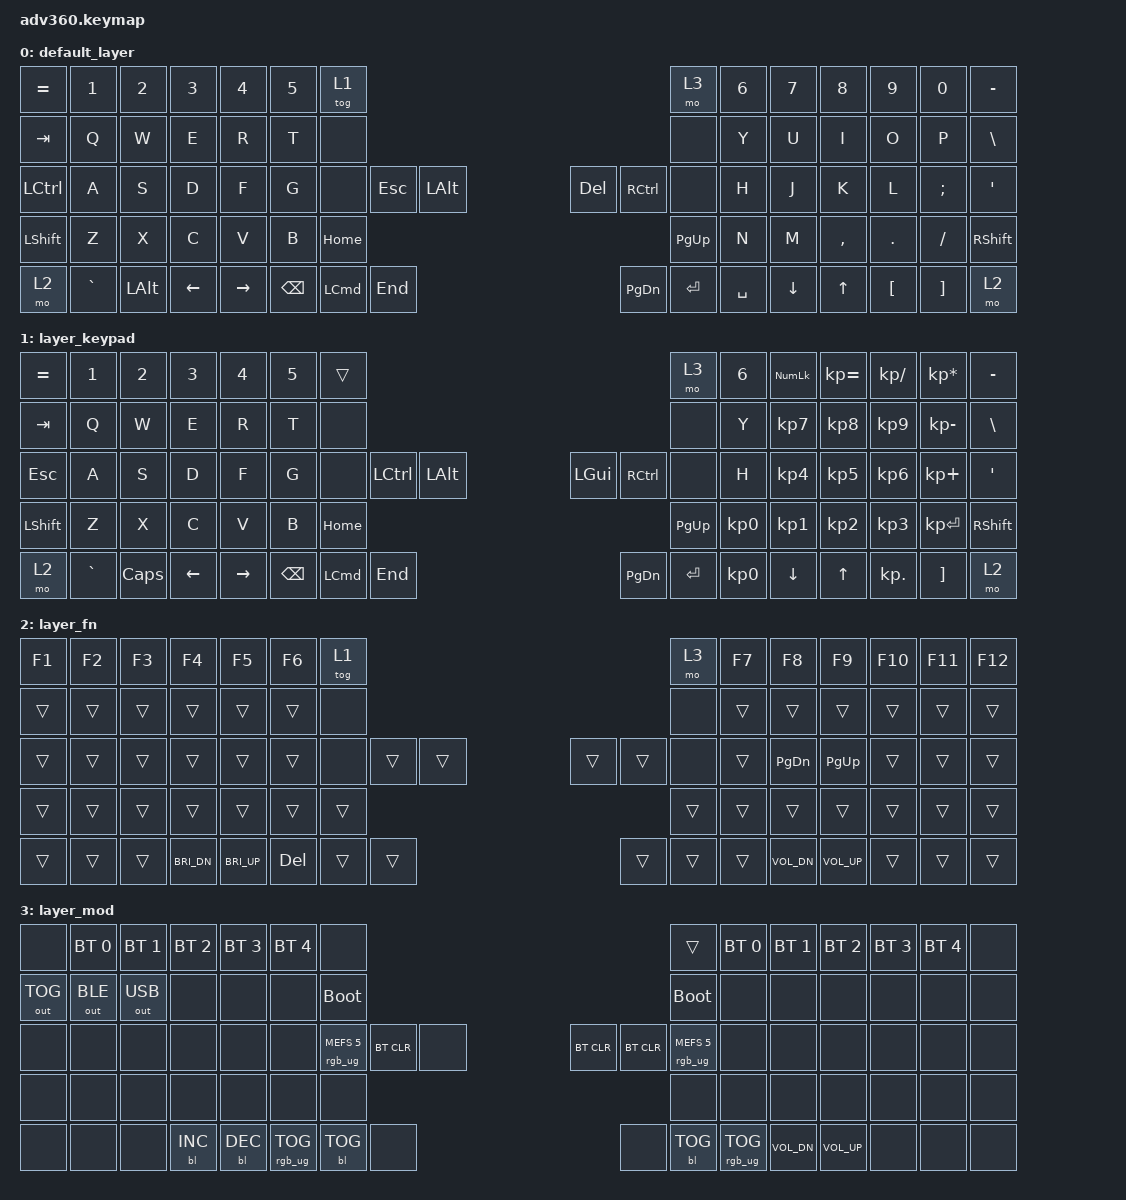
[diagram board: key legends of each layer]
#include <behaviors.dtsi>
#include <dt-bindings/zmk/keys.h>
#include <dt-bindings/zmk/bt.h>
#include <dt-bindings/zmk/outputs.h>
#include <dt-bindings/zmk/rgb.h>
#include <dt-bindings/zmk/backlight.h>

/ {
    behaviors {
      #include "macros.dtsi"
      #include "version.dtsi"
      #ifndef VERSION_MACRO
      macro_ver: macro_ver {
        compatible = "zmk,behavior-macro";
        label = "macro_version";
        #binding-cells = <0>;
        bindings = <&kp RET>;
      };
      #endif

    hm: homerow_mods {
        compatible = "zmk,behavior-hold-tap";
        label = "HOMEROW_MODS";
        #binding-cells = <2>;
        tapping-term-ms = <200>;
        quick_tap_ms = <175>;
        flavor = "tap-preferred";
        bindings = <&kp>, <&kp>;
    };
  };

    keymap {
        compatible = "zmk,keymap";


        default_layer {
            bindings = <
        &kp EQUAL     &kp N1        &kp N2    &kp N3     &kp N4  &kp N5              &tog 1                                                                        &mo 3  &kp N6    &kp N7     &kp N8    &kp N9    &kp N0  &kp MINUS
          &kp TAB      &kp Q         &kp W     &kp E      &kp R   &kp T               &none                                                                        &none   &kp Y     &kp U      &kp I     &kp O     &kp P   &kp BSLH
 &kp LEFT_CONTROL      &kp A         &kp S     &kp D      &kp F   &kp G               &none           &kp ESC  &kp LALT                    &kp DEL  &kp RCTRL      &none   &kp H     &kp J      &kp K     &kp L  &kp SEMI    &kp SQT
        &kp LSHFT      &kp Z         &kp X     &kp C      &kp V   &kp B                                        &kp HOME                  &kp PG_UP                         &kp N     &kp M  &kp COMMA   &kp DOT  &kp FSLH  &kp RSHFT
            &mo 2  &kp GRAVE  &kp LEFT_ALT  &kp LEFT  &kp RIGHT                    &kp BSPC  &kp LEFT_COMMAND   &kp END                  &kp PG_DN  &kp ENTER  &kp SPACE          &kp DOWN     &kp UP  &kp LBKT  &kp RBKT      &mo 2
            >;
        };

        layer_keypad {
            bindings = <
 &kp EQUAL     &kp N1    &kp N2    &kp N3     &kp N4  &kp N5              &trans                                                                        &mo 3     &kp N6  &kp KP_NUM  &kp KP_EQUAL  &kp KP_DIVIDE  &kp KP_MULTIPLY  &kp MINUS
   &kp TAB      &kp Q     &kp W     &kp E      &kp R   &kp T               &none                                                                        &none      &kp Y   &kp KP_N7     &kp KP_N8      &kp KP_N9     &kp KP_MINUS   &kp BSLH
   &kp ESC      &kp A     &kp S     &kp D      &kp F   &kp G               &none         &kp LCTRL  &kp LALT                   &kp LGUI  &kp RCTRL      &none      &kp H   &kp KP_N4     &kp KP_N5      &kp KP_N6      &kp KP_PLUS    &kp SQT
 &kp LSHFT      &kp Z     &kp X     &kp C      &kp V   &kp B                                        &kp HOME                  &kp PG_UP                        &kp KP_N0   &kp KP_N1     &kp KP_N2      &kp KP_N3     &kp KP_ENTER  &kp RSHFT
     &mo 2  &kp GRAVE  &kp CAPS  &kp LEFT  &kp RIGHT                    &kp BSPC  &kp LEFT_COMMAND   &kp END                  &kp PG_DN  &kp ENTER  &kp KP_N0               &kp DOWN        &kp UP     &kp KP_DOT         &kp RBKT      &mo 2
            >;
        };

        layer_fn {
            bindings = <
 &kp F1  &kp F2  &kp F3        &kp F4        &kp F5  &kp F6             &tog 1                                                   &mo 3  &kp F7        &kp F8        &kp F9  &kp F10  &kp F11  &kp F12
 &trans  &trans  &trans        &trans        &trans  &trans              &none                                                   &none  &trans        &trans        &trans   &trans   &trans   &trans
 &trans  &trans  &trans        &trans        &trans  &trans              &none  &trans  &trans                  &trans  &trans   &none  &trans     &kp PG_DN     &kp PG_UP   &trans   &trans   &trans
 &trans  &trans  &trans        &trans        &trans  &trans                             &trans                  &trans                  &trans        &trans        &trans   &trans   &trans   &trans
 &trans  &trans  &trans  &kp C_BRI_DN  &kp C_BRI_UP                    &kp DEL  &trans  &trans                  &trans  &trans  &trans          &kp C_VOL_DN  &kp C_VOL_UP   &trans   &trans   &trans
            >;
        };

        layer_mod {
            bindings = <
        &none  &bt BT_SEL 0  &bt BT_SEL 1  &bt BT_SEL 2  &bt BT_SEL 3  &bt BT_SEL 4                             &none                                                                              &trans  &bt BT_SEL 0  &bt BT_SEL 1  &bt BT_SEL 2  &bt BT_SEL 3  &bt BT_SEL 4   &none
 &out OUT_TOG  &out OUT_BLE  &out OUT_USB         &none         &none         &none                       &bootloader                                                                         &bootloader         &none         &none         &none         &none         &none   &none
        &none         &none         &none         &none         &none         &none            &rgb_ug RGB_MEFS_CMD 5  &bt BT_CLR   &none                  &bt BT_CLR  &bt BT_CLR  &rgb_ug RGB_MEFS_CMD 5         &none         &none         &none         &none         &none   &none
        &none         &none         &none         &none         &none         &none                                                 &none                       &none                                             &none         &none         &none         &none         &none   &none
        &none         &none         &none    &bl BL_INC    &bl BL_DEC                                 &rgb_ug RGB_TOG  &bl BL_TOG   &none                       &none  &bl BL_TOG         &rgb_ug RGB_TOG                &kp K_VOL_DN  &kp K_VOL_UP         &none         &none   &none
            >;
        };

    };
};
